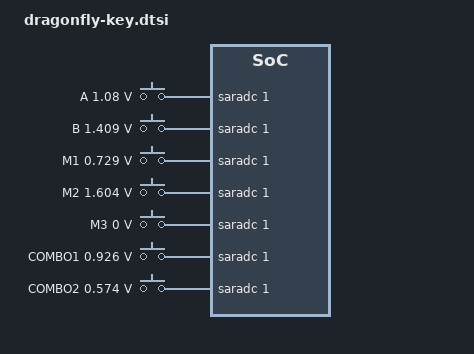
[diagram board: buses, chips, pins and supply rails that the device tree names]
/ {
	adc_keys: adc-keys {
		compatible = "adc-keys";
		io-channels = <&saradc 1>;
		io-channel-names = "buttons";
		keyup-threshold-microvolt = <1800000>;
		poll-interval = <100>;

		a_key {
			label = "A";
			linux,code = <KEY_F13>;
			press-threshold-microvolt = <1080000>;  // 主机位: 1.08V
		};

		b_key {
			label = "B";
			linux,code = <KEY_F14>;
			press-threshold-microvolt = <1408696>;  // 辅机位: 1.408695652V
		};

		m1_key {
			label = "M1";
			linux,code = <KEY_F15>;
			press-threshold-microvolt = <728571>;   // MODE1 R2: 0.728571429V
		};

		m2_key {
			label = "M2";
			linux,code = <KEY_F16>;
			press-threshold-microvolt = <1604348>;  // MODE2 R3: 1.604347826V
		};

		m3_key {
			label = "M3";
			linux,code = <KEY_F17>;
			press-threshold-microvolt = <0>;   // MODE3 R4: 0V
		};

		// 新增组合按键
    		combo1_key {
        		label = "COMBO1";
        		linux,code = <KEY_F18>;
        		press-threshold-microvolt = <925714>;   // 主机位与辅机位: 0.925714286V
    		};

    		combo2_key {
        		label = "COMBO2";
        		linux,code = <KEY_F19>;
        		press-threshold-microvolt = <573750>;   // 主机位与M1: 0.573750V
    		};
	};
};
